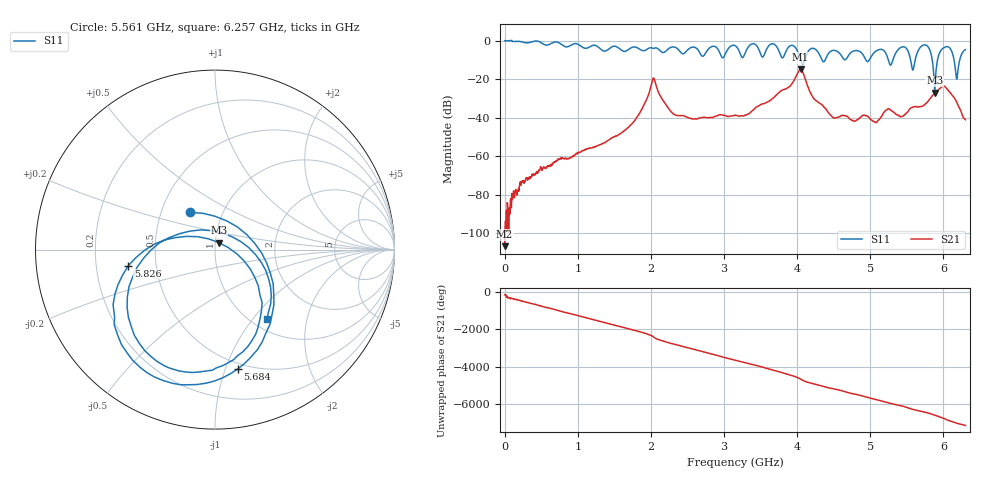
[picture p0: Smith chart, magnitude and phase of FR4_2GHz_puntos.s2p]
! NanoVNA-App
! Date: 2025-10-01 20:21:20
! Start: 10kHz Stop: 6.3GHz Points: 1024
! S-Parameter data: F S11 S21 S12 S22
# Hz S RI R 50
!  Frequency  S11_Real  S11_Imag  S21_Real  S21_Imag  S12_Real  S12_Imag  S22_Real  S22_Imag
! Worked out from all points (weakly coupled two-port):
!   1024 points, 10 kHz to 6.3 GHz, reference 50 ohm
!   highest |S21| = -14.80 dB at 4.046 GHz (marker M1); lowest = -106.6 dB at 10 kHz (marker M2)
!   lowest |S11| = -27.0 dB at 5.881 GHz (marker M3), VSWR 1.09, Z = 52.1 + j4.08 ohm
!   |S11| at or under -10 dB: 5.551 GHz to 5.613 GHz (62.51 MHz wide, 1.12 % of centre); 5.847 GHz to 5.918 GHz (71.61 MHz wide, 1.22 % of centre); 6.145 GHz to 6.222 GHz (76.66 MHz wide, 1.24 % of centre)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
!   S12 and S22 are empty: the file has one direction only
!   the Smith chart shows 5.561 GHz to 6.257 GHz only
!   S11 on the Smith chart (normalised r, x): 5.561 GHz: 0.70, +0.31; 5.684 GHz: 0.45, -1.10; 5.826 GHz: 0.34, -0.08; 6.257 GHz: 1.17, -1.18
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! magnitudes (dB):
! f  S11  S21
! 10 kHz  0.0  -106.6
! 1.053 GHz  -3.1  -57.3
! 1.718 GHz  -3.9  -43.9
! 2.032 GHz  -4.0  -19.4
! 2.1 GHz  -4.2  -26.4
! 2.346 GHz  -3.6  -38.7
! 3.153 GHz  -2.6  -38.6
! 3.935 GHz  -2.4  -21.9
! 4.046 GHz  -9.9  -14.8
! 4.206 GHz  -3.9  -28.8
! 4.36 GHz  -10.9  -34.2
! 4.514 GHz  -5.0  -40.1
! 5.253 GHz  -10.7  -35.3
! 5.45 GHz  -3.1  -39.0
! 5.561 GHz  -12.1  -34.7
! 5.684 GHz  -3.4  -34.1
! 5.826 GHz  -6.2  -29.6
! 5.881 GHz  -27.0  -27.2
! 5.998 GHz  -3.8  -23.5
! 6.183 GHz  -19.9  -32.1
! 6.257 GHz  -6.3  -38.3
! 6.3 GHz  -4.6  -41.0
